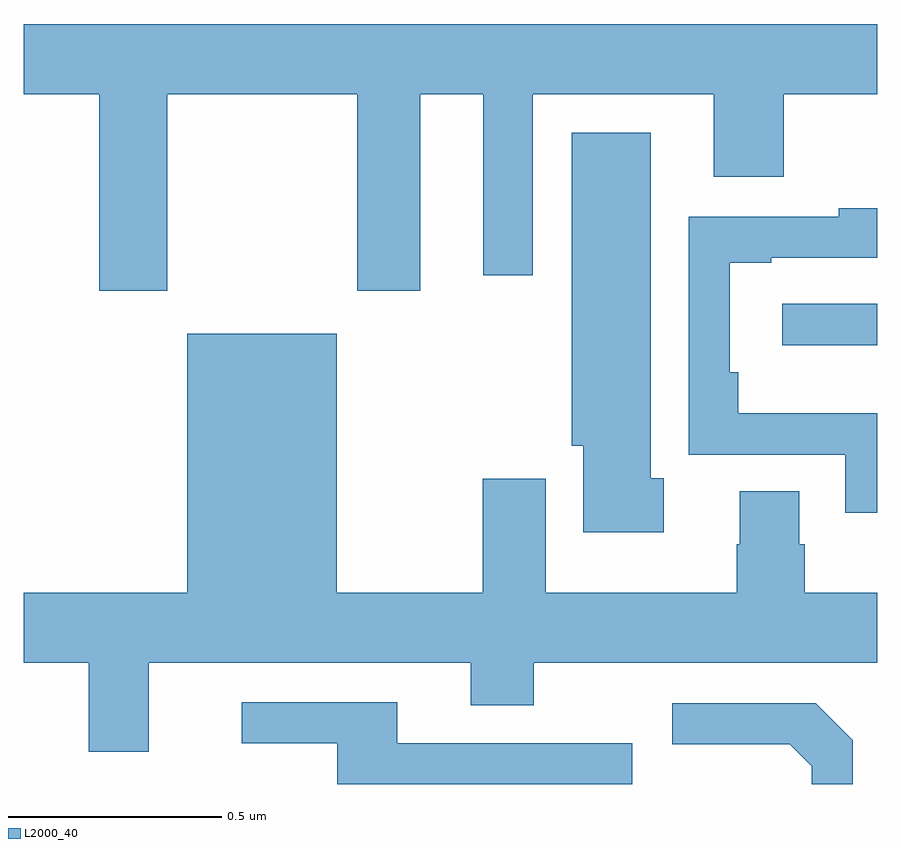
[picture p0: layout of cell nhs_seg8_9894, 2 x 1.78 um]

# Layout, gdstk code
import gdstk
lib = gdstk.Library(unit=1e-6, precision=1e-09)
def R(c, l, rs):  # rectangles x0, y0, x1, y1
    for r in rs: c.add(gdstk.rectangle(r[:2], r[2:], *l))
def P(c, l, *ps):  # polygons
    for p in ps: c.add(gdstk.Polygon(p, *l))
L2000_40 = (2000, 40)

nhs_seg8_9894 = lib.new_cell('nhs_seg8_9894')
R(nhs_seg8_9894, L2000_40, [(243.777,1099.928,244,1100.025)])
P(nhs_seg8_9894, L2000_40, [(242.337,1100.516),(242.782,1100.516),(242.782,1100.055),(242.929,1100.055),(242.929,1100.516),(243.077,1100.516),(243.077,1100.091),(243.193,1100.091),(243.193,1100.516),(243.617,1100.516),(243.617,1100.322),(243.781,1100.322),(243.781,1100.516),(244,1100.516),(244,1100.68),(242,1100.68),(242,1100.516),(242.177,1100.516),(242.177,1100.055),(242.337,1100.055)],
  [(243.499,1099.616),(243.469,1099.616),(243.469,1100.425),(243.284,1100.425),(243.284,1099.692),(243.311,1099.692),(243.311,1099.49),(243.499,1099.49)],
  [(244,1099.768),(243.674,1099.768),(243.674,1099.864),(243.654,1099.864),(243.654,1100.121),(243.751,1100.121),(243.751,1100.133),(244,1100.133),(244,1100.248),(243.909,1100.248),(243.909,1100.229),(243.558,1100.229),(243.558,1099.671),(243.924,1099.671),(243.924,1099.535),(244,1099.535)],
  [(242.293,1099.184),(243.047,1099.184),(243.047,1099.085),(243.195,1099.085),(243.195,1099.184),(244,1099.184),(244,1099.348),(243.83,1099.348),(243.83,1099.461),(243.817,1099.461),(243.817,1099.586),(243.677,1099.586),(243.677,1099.461),(243.67,1099.461),(243.67,1099.348),(243.223,1099.348),(243.223,1099.615),(243.076,1099.615),(243.076,1099.348),(242.734,1099.348),(242.734,1099.954),(242.384,1099.954),(242.384,1099.348),(242,1099.348),(242,1099.184),(242.153,1099.184),(242.153,1098.976),(242.293,1098.976)],
  [(243.426,1098.996),(242.875,1098.996),(242.875,1099.092),(242.511,1099.092),(242.511,1098.996),(242.735,1098.996),(242.735,1098.9),(243.426,1098.9)],
  [(243.942,1099.002),(243.855,1099.089),(243.519,1099.089),(243.519,1098.993),(243.795,1098.993),(243.846,1098.942),(243.846,1098.9),(243.942,1098.9)])

lib.write_gds('nhs_seg8_9894.gds')
